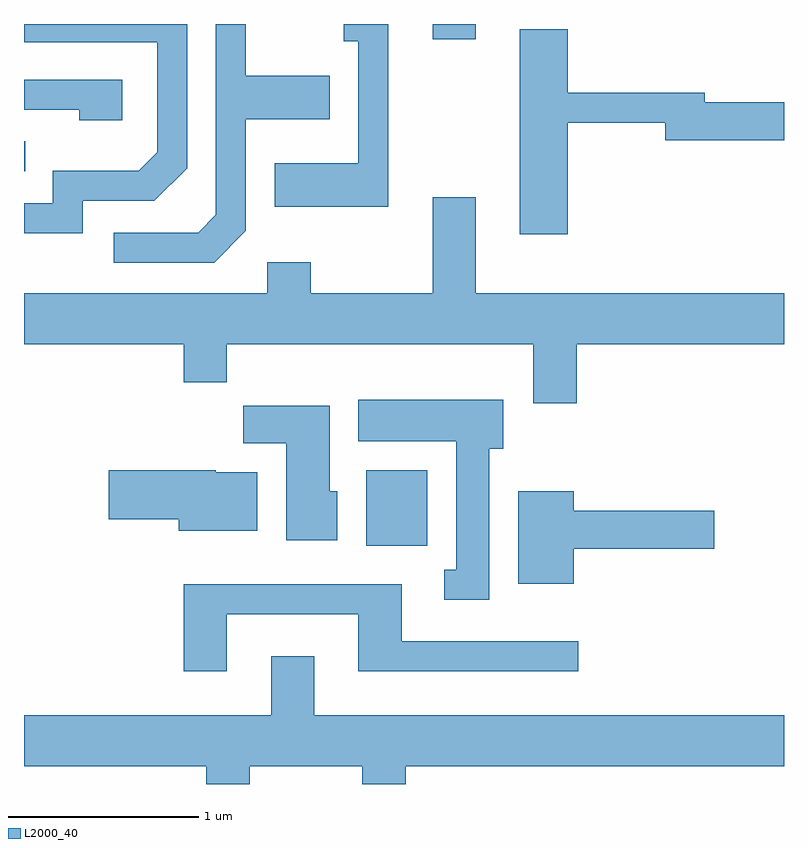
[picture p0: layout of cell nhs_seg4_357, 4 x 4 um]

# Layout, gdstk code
import gdstk
lib = gdstk.Library(unit=1e-6, precision=1e-09)
def R(c, l, rs):  # rectangles x0, y0, x1, y1
    for r in rs: c.add(gdstk.rectangle(r[:2], r[2:], *l))
def P(c, l, *ps):  # polygons
    for p in ps: c.add(gdstk.Polygon(p, *l))
L2000_40 = (2000, 40)

nhs_seg4_357 = lib.new_cell('nhs_seg4_357')
R(nhs_seg4_357, L2000_40, [(197.411,1289.236,197.734,1289.634), (195.611,1291.206,195.618,1291.364), (197.761,1291.901,197.989,1291.982)])
P(nhs_seg4_357, L2000_40, [(197.529,1291.982),(197.293,1291.982),(197.293,1291.891),(197.371,1291.891),(197.371,1291.249),(196.931,1291.249),(196.931,1291.021),(197.529,1291.021)],
  [(195.919,1291.051),(196.297,1291.051),(196.469,1291.224),(196.469,1291.982),(195.611,1291.982),(195.611,1291.886),(196.311,1291.886),(196.311,1291.307),(196.214,1291.209),(195.761,1291.209),(195.761,1291.039),(195.611,1291.039),(195.611,1290.881),(195.919,1290.881)],
  [(196.779,1290.894),(196.779,1291.481),(197.219,1291.481),(197.219,1291.709),(196.779,1291.709),(196.779,1291.982),(196.621,1291.982),(196.621,1290.977),(196.529,1290.884),(196.083,1290.884),(196.083,1290.726),(196.612,1290.726)],
  [(198.474,1291.461),(198.986,1291.461),(198.986,1291.371),(199.611,1291.371),(199.611,1291.569),(199.194,1291.569),(199.194,1291.619),(198.474,1291.619),(198.474,1291.954),(198.221,1291.954),(198.221,1290.876),(198.474,1290.876)],
  [(196.129,1291.689),(195.611,1291.689),(195.611,1291.531),(195.901,1291.531),(195.901,1291.476),(196.129,1291.476)],
  [(198.519,1290.296),(199.611,1290.296),(199.611,1290.564),(197.989,1290.564),(197.989,1291.069),(197.761,1291.069),(197.761,1290.564),(197.119,1290.564),(197.119,1290.729),(196.891,1290.729),(196.891,1290.564),(195.611,1290.564),(195.611,1290.296),(196.451,1290.296),(196.451,1290.096),(196.679,1290.096),(196.679,1290.296),(198.291,1290.296),(198.291,1289.986),(198.519,1289.986)],
  [(198.059,1289.746),(198.134,1289.746),(198.134,1290.004),(197.371,1290.004),(197.371,1289.786),(197.886,1289.786),(197.886,1289.109),(197.823,1289.109),(197.823,1288.951),(198.059,1288.951)],
  [(197.259,1289.524),(197.219,1289.524),(197.219,1289.974),(196.766,1289.974),(196.766,1289.776),(196.991,1289.776),(196.991,1289.266),(197.259,1289.266)],
  [(196.839,1289.624),(196.62,1289.624),(196.62,1289.634),(196.056,1289.634),(196.056,1289.376),(196.426,1289.376),(196.426,1289.316),(196.839,1289.316)],
  [(198.504,1289.221),(199.244,1289.221),(199.244,1289.419),(198.504,1289.419),(198.504,1289.524),(198.211,1289.524),(198.211,1289.036),(198.504,1289.036)],
  [(196.679,1288.876),(197.371,1288.876),(197.371,1288.576),(198.528,1288.576),(198.528,1288.734),(197.599,1288.734),(197.599,1289.034),(196.451,1289.034),(196.451,1288.576),(196.679,1288.576)],
  [(196.799,1288.076),(197.391,1288.076),(197.391,1287.982),(197.619,1287.982),(197.619,1288.076),(199.611,1288.076),(199.611,1288.344),(197.139,1288.344),(197.139,1288.654),(196.911,1288.654),(196.911,1288.344),(195.611,1288.344),(195.611,1288.076),(196.571,1288.076),(196.571,1287.982),(196.799,1287.982)])

lib.write_gds('nhs_seg4_357.gds')
